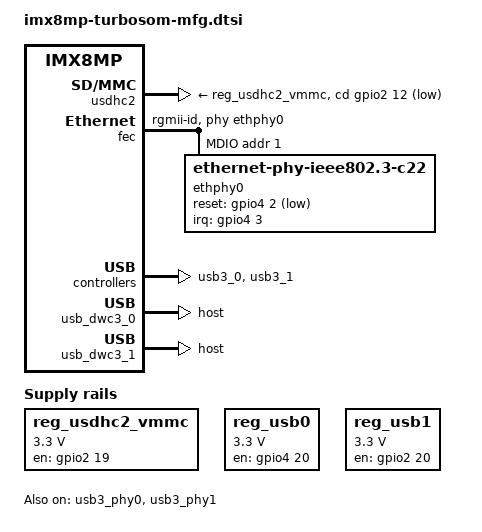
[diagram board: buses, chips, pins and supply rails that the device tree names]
// SPDX-License-Identifier: (GPL-2.0+ OR MIT)
/*
 * Copyright 2021 Laird Connectivity
 */

/ {
	reg_usdhc2_vmmc: regulator-usdhc2 {
		compatible = "regulator-fixed";

		pinctrl-names = "default";
		pinctrl-0 = <&pinctrl_usdhc2_vmmc>;

		regulator-name = "VSD_3V3";
		regulator-min-microvolt = <3300000>;
		regulator-max-microvolt = <3300000>;

		gpio = <&gpio2 19 GPIO_ACTIVE_HIGH>;
		enable-active-high;
		startup-delay-us = <100>;
		off-on-delay-us = <12000>;
	};

	reg_usb0: regulator-usb0 {
		compatible = "regulator-fixed";

		pinctrl-names = "default";
		pinctrl-0 = <&pinctrl_usb0_power>;

		regulator-name = "USB1 Power";
		regulator-min-microvolt = <3300000>;
		regulator-max-microvolt = <3300000>;

		gpio = <&gpio4 20 GPIO_ACTIVE_HIGH>;
		enable-active-high;
	};

	reg_usb1: regulator-usb1 {
		compatible = "regulator-fixed";

		pinctrl-names = "default";
		pinctrl-0 = <&pinctrl_usb1_power>;

		regulator-name = "USB2 Power";
		regulator-min-microvolt = <3300000>;
		regulator-max-microvolt = <3300000>;

		gpio = <&gpio2 20 GPIO_ACTIVE_HIGH>;
		enable-active-high;
	};
};

&usdhc2 {
	pinctrl-0 = <&pinctrl_usdhc2>, <&pinctrl_usdhc2_cd>;
	pinctrl-1 = <&pinctrl_usdhc2_100mhz>, <&pinctrl_usdhc2_cd>;
	pinctrl-2 = <&pinctrl_usdhc2_200mhz>, <&pinctrl_usdhc2_cd>;

	cd-gpios = <&gpio2 12 GPIO_ACTIVE_LOW>;

	vmmc-supply = <&reg_usdhc2_vmmc>;

	status = "okay";
};

&fec {
	pinctrl-names = "default";
	pinctrl-0 = <&pinctrl_fec>;
	phy-mode = "rgmii-id";
	phy-handle = <&ethphy0>;
	fsl,magic-packet;
	status = "okay";

	mdio {
		#address-cells = <1>;
		#size-cells = <0>;

		ethphy0: ethernet-phy@1 {
			compatible = "ethernet-phy-ieee802.3-c22";
			reg = <1>;

			pinctrl-names = "default";
			pinctrl-0 = <&pinctrl_fec_phy>;

			interrupt-parent = <&gpio4>;
			interrupts = <3 IRQ_TYPE_EDGE_FALLING>;

			reset-gpios = <&gpio4 2 GPIO_ACTIVE_LOW>;
			reset-assert-us = <10>;
			reset-deassert-us = <300>;

			ti,rx-internal-delay = <DP83867_RGMIIDCTL_2_00_NS>;
			ti,tx-internal-delay = <DP83867_RGMIIDCTL_2_00_NS>;
			ti,fifo-depth = <DP83867_PHYCR_FIFO_DEPTH_4_B_NIB>;
		};
	};
};

&sdma2 {
	status = "okay";
};

&usb3_phy0 {
	fsl,phy-tx-vref-tune = <6>;
	fsl,phy-tx-rise-tune = <0>;
	fsl,phy-tx-preemp-amp-tune = <3>;
	fsl,phy-comp-dis-tune = <7>;
	fsl,pcs-tx-deemph-3p5db = <0x21>;
	fsl,phy-pcs-tx-swing-full = <0x7f>;

	vbus-supply = <&reg_usb0>;

	status = "okay";
};

&usb3_0 {
	status = "okay";
};

&usb_dwc3_0 {
	dr_mode = "host";
	status = "okay";
};

&usb3_phy1 {
	fsl,phy-tx-vref-tune = <6>;
	fsl,phy-tx-rise-tune = <0>;
	fsl,phy-tx-preemp-amp-tune = <3>;
	fsl,phy-comp-dis-tune = <7>;
	fsl,pcs-tx-deemph-3p5db = <0x21>;
	fsl,phy-pcs-tx-swing-full = <0x7f>;

	vbus-supply = <&reg_usb1>;

	status = "okay";
};

&usb3_1 {
	status = "okay";
};

&usb_dwc3_1 {
	dr_mode = "host";
	status = "okay";
};

&iomuxc {
	pinctrl_usdhc2_vmmc: usdhc2_vmmcgrp {
		fsl,pins = <
			MX8MP_IOMUXC_SD2_RESET_B__GPIO2_IO19	0x40
		>;
	};

	pinctrl_usdhc2_cd: usdhc2_cdgrp {
		fsl,pins = <
			MX8MP_IOMUXC_SD2_CD_B__GPIO2_IO12 	0x1c4
		>;
	};

	pinctrl_usb0_power: usb0_powergrp {
		fsl,pins = <
			MX8MP_IOMUXC_SAI1_MCLK__GPIO4_IO20	0x16
		>;
	};

	pinctrl_usb1_power: usb1_powergrp {
		fsl,pins = <
			MX8MP_IOMUXC_SD2_WP__GPIO2_IO20	0x16
		>;
	};

	pinctrl_fec: fecgrp {
		fsl,pins = <
			MX8MP_IOMUXC_SAI1_RXD2__ENET1_MDC		0x2
			MX8MP_IOMUXC_SAI1_RXD3__ENET1_MDIO		0x2
			MX8MP_IOMUXC_SAI1_RXD4__ENET1_RGMII_RD0		0x90
			MX8MP_IOMUXC_SAI1_RXD5__ENET1_RGMII_RD1		0x90
			MX8MP_IOMUXC_SAI1_RXD6__ENET1_RGMII_RD2		0x90
			MX8MP_IOMUXC_SAI1_RXD7__ENET1_RGMII_RD3		0x90
			MX8MP_IOMUXC_SAI1_TXC__ENET1_RGMII_RXC		0x90
			MX8MP_IOMUXC_SAI1_TXFS__ENET1_RGMII_RX_CTL	0x90
			MX8MP_IOMUXC_SAI1_TXD0__ENET1_RGMII_TD0		0x10
			MX8MP_IOMUXC_SAI1_TXD1__ENET1_RGMII_TD1		0x10
			MX8MP_IOMUXC_SAI1_TXD2__ENET1_RGMII_TD2		0x10
			MX8MP_IOMUXC_SAI1_TXD3__ENET1_RGMII_TD3		0x10
			MX8MP_IOMUXC_SAI1_TXD4__ENET1_RGMII_TX_CTL	0x10
			MX8MP_IOMUXC_SAI1_TXD5__ENET1_RGMII_TXC		0x10
		>;
	};

	pinctrl_fec_phy: fecphygrp {
		fsl,pins = <
			MX8MP_IOMUXC_SAI1_RXD0__GPIO4_IO02		0x00000146
			MX8MP_IOMUXC_SAI1_RXD1__GPIO4_IO03		0x000001C6
		>;
	};
};
